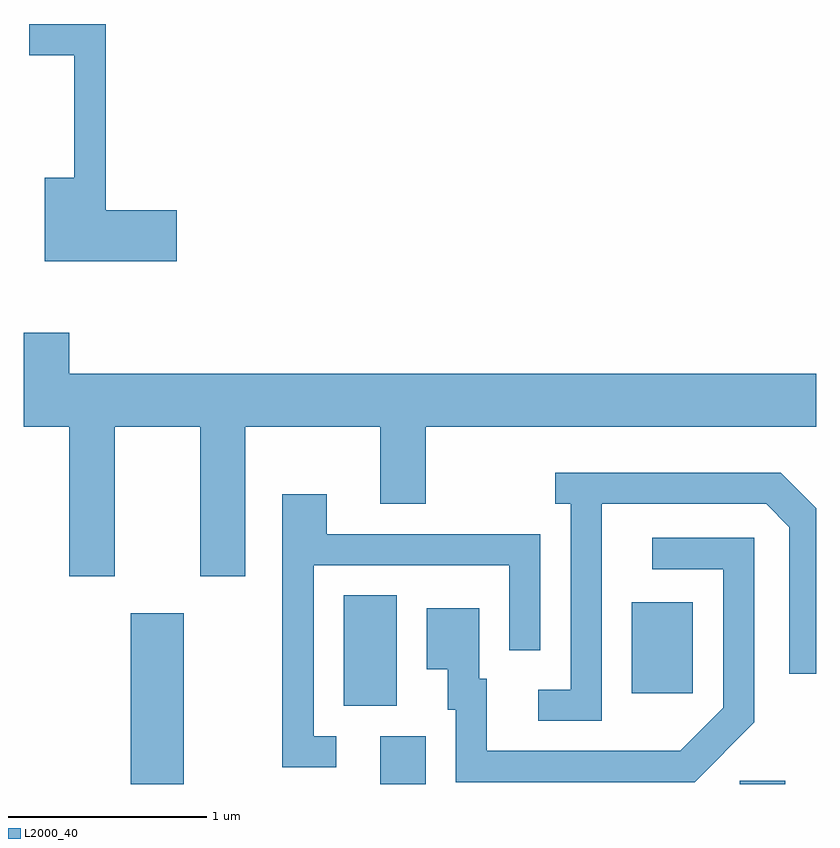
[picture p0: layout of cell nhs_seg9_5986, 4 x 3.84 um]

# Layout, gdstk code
import gdstk
lib = gdstk.Library(unit=1e-6, precision=1e-09)
def R(c, l, rs):  # rectangles x0, y0, x1, y1
    for r in rs: c.add(gdstk.rectangle(r[:2], r[2:], *l))
def P(c, l, *ps):  # polygons
    for p in ps: c.add(gdstk.Polygon(p, *l))
L2000_40 = (2000, 40)

nhs_seg9_5986 = lib.new_cell('nhs_seg9_5986')
R(nhs_seg9_5986, L2000_40, [(362.151,2014.432,362.419,2015.294), (363.411,2014.432,363.639,2014.674), (365.226,2014.432,365.454,2014.449), (363.226,2014.826,363.494,2015.384), (364.681,2014.891,364.989,2015.349)])
P(nhs_seg9_5986, L2000_40, [(362.384,2017.329),(362.024,2017.329),(362.024,2018.269),(361.638,2018.269),(361.638,2018.111),(361.866,2018.111),(361.866,2017.494),(361.716,2017.494),(361.716,2017.071),(362.384,2017.071)],
  [(362.069,2016.236),(362.501,2016.236),(362.501,2015.481),(362.729,2015.481),(362.729,2016.236),(363.411,2016.236),(363.411,2015.846),(363.639,2015.846),(363.639,2016.236),(365.611,2016.236),(365.611,2016.504),(361.839,2016.504),(361.839,2016.709),(361.611,2016.709),(361.611,2016.236),(361.841,2016.236),(361.841,2015.481),(362.069,2015.481)],
  [(364.529,2015.846),(365.359,2015.846),(365.476,2015.729),(365.476,2014.988),(365.611,2014.988),(365.611,2015.825),(365.432,2016.004),(364.293,2016.004),(364.293,2015.846),(364.371,2015.846),(364.371,2014.909),(364.208,2014.909),(364.208,2014.751),(364.529,2014.751)],
  [(363.188,2014.674),(363.074,2014.674),(363.074,2015.536),(364.061,2015.536),(364.061,2015.108),(364.219,2015.108),(364.219,2015.694),(363.139,2015.694),(363.139,2015.894),(362.916,2015.894),(362.916,2014.516),(363.188,2014.516)],
  [(365.299,2014.744),(365.299,2015.674),(364.783,2015.674),(364.783,2015.516),(365.141,2015.516),(365.141,2014.817),(364.924,2014.599),(363.949,2014.599),(363.949,2014.964),(363.909,2014.964),(363.909,2015.319),(363.646,2015.319),(363.646,2015.011),(363.751,2015.011),(363.751,2014.806),(363.791,2014.806),(363.791,2014.441),(364.997,2014.441)])

lib.write_gds('nhs_seg9_5986.gds')
